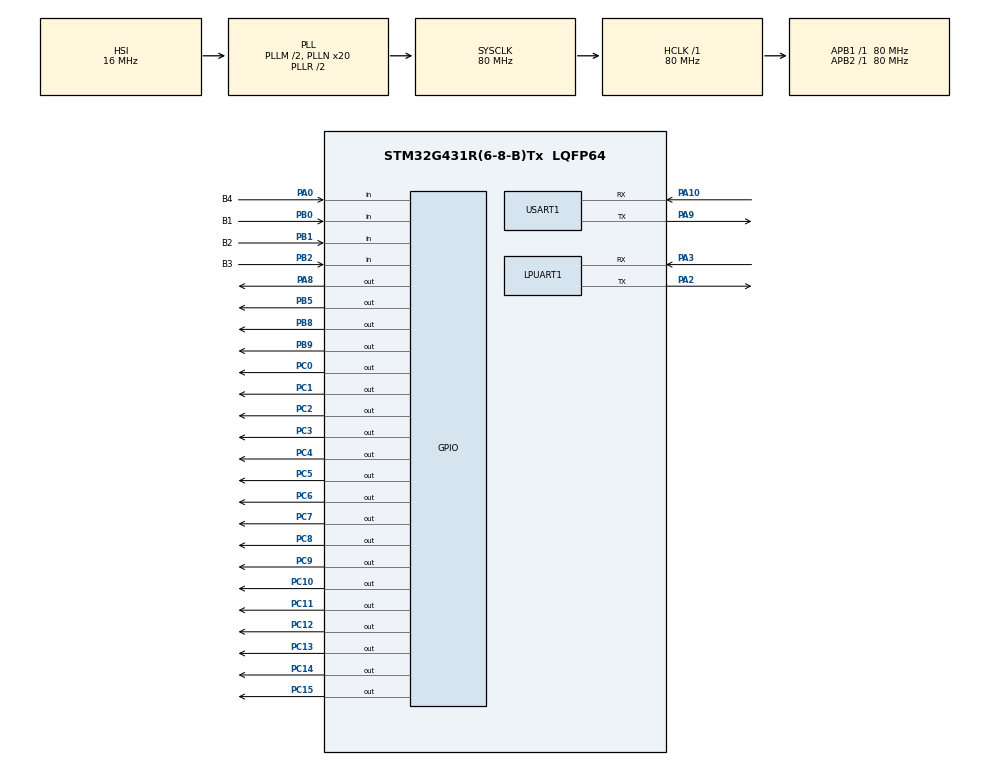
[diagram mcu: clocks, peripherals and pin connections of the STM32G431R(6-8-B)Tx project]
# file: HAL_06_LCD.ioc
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Mcu.Family=STM32G4
Mcu.Name=STM32G431R(6-8-B)Tx
Mcu.Package=LQFP64
NVIC.LPUART1_IRQn=true\:0\:0\:false\:false\:true\:true\:true\:true
NVIC.PriorityGroup=NVIC_PRIORITYGROUP_4
NVIC.TIM1_TRG_COM_TIM17_IRQn=true\:0\:0\:false\:false\:true\:true\:true\:true
PA0.GPIO_Label=B4
PA0.GPIO_PuPd=GPIO_PULLUP
PA0.Signal=GPIO_Input
PA10.Mode=Asynchronous
PA10.Signal=USART1_RX
PA13.Mode=Serial_Wire
PA13.Signal=SYS_JTMS-SWDIO
PA14.Mode=Serial_Wire
PA14.Signal=SYS_JTCK-SWCLK
PA2.Mode=Asynchronous
PA2.Signal=LPUART1_TX
PA3.Mode=Asynchronous
PA3.Signal=LPUART1_RX
PA8.Signal=GPIO_Output
PA9.Mode=Asynchronous
PA9.Signal=USART1_TX
PB0.GPIO_Label=B1
PB0.GPIO_PuPd=GPIO_PULLUP
PB0.Signal=GPIO_Input
PB1.GPIO_Label=B2
PB1.GPIO_PuPd=GPIO_PULLUP
PB1.Signal=GPIO_Input
PB2.GPIO_Label=B3
PB2.GPIO_PuPd=GPIO_PULLUP
PB2.Signal=GPIO_Input
PB5.Signal=GPIO_Output
PB8-BOOT0.Signal=GPIO_Output
PB9.Signal=GPIO_Output
PC0.Signal=GPIO_Output
PC1.Signal=GPIO_Output
PC10.Signal=GPIO_Output
PC11.Signal=GPIO_Output
PC12.Signal=GPIO_Output
PC13.Signal=GPIO_Output
PC14-OSC32_IN.Signal=GPIO_Output
PC15-OSC32_OUT.Signal=GPIO_Output
PC2.Signal=GPIO_Output
PC3.Signal=GPIO_Output
PC4.Signal=GPIO_Output
PC5.Signal=GPIO_Output
PC6.Signal=GPIO_Output
PC7.Signal=GPIO_Output
PC8.Signal=GPIO_Output
PC9.Signal=GPIO_Output
PF0-OSC_IN.Mode=HSE-External-Oscillator
PF0-OSC_IN.Signal=RCC_OSC_IN
PF1-OSC_OUT.Mode=HSE-External-Oscillator
PF1-OSC_OUT.Signal=RCC_OSC_OUT
ProjectManager.HeapSize=0x200
ProjectManager.StackSize=0x400
ProjectManager.TargetToolchain=MDK-ARM V5.27
RCC.ADC12Freq_Value=80000000
RCC.AHBFreq_Value=80000000
RCC.APB1Freq_Value=80000000
RCC.APB1TimFreq_Value=80000000
RCC.APB2Freq_Value=80000000
RCC.APB2TimFreq_Value=80000000
RCC.CortexFreq_Value=80000000
RCC.EXTERNAL_CLOCK_VALUE=12288000
RCC.HCLKFreq_Value=80000000
RCC.HSE_VALUE=24000000
RCC.HSI48_VALUE=48000000
RCC.HSI_VALUE=16000000
RCC.LSE_VALUE=32768
RCC.PLLM=RCC_PLLM_DIV2
RCC.PLLN=20
RCC.SYSCLKFreq_VALUE=80000000
RCC.SYSCLKSource=RCC_SYSCLKSOURCE_PLLCLK
RCC.USBFreq_Value=80000000
RCC.VCOOutputFreq_Value=160000000
TIM17.PeriodNoDither=9999
TIM17.Prescaler=79
USART1.VirtualMode-Asynchronous=VM_ASYNC
VP_SYS_VS_DBSignals.Mode=DisableDeadBatterySignals
VP_TIM17_VS_ClockSourceINT.Mode=Enable_Timer
board=custom

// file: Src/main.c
/* USER CODE BEGIN Header */
/**
  ******************************************************************************
  * @file           : main.c
  * @brief          : Main program body
  ******************************************************************************
  * @attention
  *
  * <h2><center>&copy; Copyright (c) 2021 STMicroelectronics.
  * All rights reserved.</center></h2>
  *
  * This software component is licensed by ST under BSD 3-Clause license,
  * the "License"; You may not use this file except in compliance with the
  * License. You may obtain a copy of the License at:
  *                        opensource.org/licenses/BSD-3-Clause
  *
  ******************************************************************************
  */
/* USER CODE END Header */
#include "main.h"
#include "usart.h"
#include "tim.h"
#include "gpio.h"

/* USER CODE BEGIN Includes */
#include "stdio.h"
#include "string.h"
#include "key.h"
#include "led.h"

/* USER CODE END Includes */

void SystemClock_Config(void);

/* USER CODE BEGIN 0 */
#define PSD 1
#define STA 2
uint8_t show_flag = PSD;

uint8_t old_psd[3] = {'1','2','3'};
uint8_t cur_psd[3] = {0};

void usart_proc(void);
/* USER CODE END 0 */

int main(void)
{

  /* MCU Configuration--------------------------------------------------------*/

  /* Reset of all peripherals, Initializes the Flash interface and the Systick. */
  HAL_Init();

  /* Configure the system clock */
  SystemClock_Config();

  /* Initialize all configured peripherals */
  MX_GPIO_Init();
  MX_USART1_UART_Init();
  MX_LPUART1_UART_Init();
  MX_TIM17_Init();
  /* USER CODE BEGIN 2 */

	LCD_Init();
  /* USER CODE END 2 */

  /* Infinite loop */
  /* USER CODE BEGIN WHILE */

	LCD_Clear(Black);
	LCD_SetBackColor(Black);
	LCD_SetTextColor(White);

	printf("READY\r\n");
	uint8_t key;
	while (1)
	{
	  key = key_scan();
		if(RX_flag)
		{
			usart_proc();

		}
	  if(show_flag == PSD)
	  {

	  }else
	  {

	  }

    /* USER CODE END WHILE */

	}
}

void SystemClock_Config(void)
{
  RCC_OscInitTypeDef RCC_OscInitStruct = {0};
  RCC_ClkInitTypeDef RCC_ClkInitStruct = {0};

  /** Configure the main internal regulator output voltage
  */
  HAL_PWREx_ControlVoltageScaling(PWR_REGULATOR_VOLTAGE_SCALE1);

  /** Initializes the RCC Oscillators according to the specified parameters
  * in the RCC_OscInitTypeDef structure.
  */
  RCC_OscInitStruct.OscillatorType = RCC_OSCILLATORTYPE_HSI;
  RCC_OscInitStruct.HSIState = RCC_HSI_ON;
  RCC_OscInitStruct.HSICalibrationValue = RCC_HSICALIBRATION_DEFAULT;
  RCC_OscInitStruct.PLL.PLLState = RCC_PLL_ON;
  RCC_OscInitStruct.PLL.PLLSource = RCC_PLLSOURCE_HSI;
  RCC_OscInitStruct.PLL.PLLM = RCC_PLLM_DIV2;
  RCC_OscInitStruct.PLL.PLLN = 20;
  RCC_OscInitStruct.PLL.PLLP = RCC_PLLP_DIV2;
  RCC_OscInitStruct.PLL.PLLQ = RCC_PLLQ_DIV2;
  RCC_OscInitStruct.PLL.PLLR = RCC_PLLR_DIV2;
  if (HAL_RCC_OscConfig(&RCC_OscInitStruct) != HAL_OK)
  {
    Error_Handler();
  }

  /** Initializes the CPU, AHB and APB buses clocks
  */
  RCC_ClkInitStruct.ClockType = RCC_CLOCKTYPE_HCLK|RCC_CLOCKTYPE_SYSCLK
                              |RCC_CLOCKTYPE_PCLK1|RCC_CLOCKTYPE_PCLK2;
  RCC_ClkInitStruct.SYSCLKSource = RCC_SYSCLKSOURCE_PLLCLK;
  RCC_ClkInitStruct.AHBCLKDivider = RCC_SYSCLK_DIV1;
  RCC_ClkInitStruct.APB1CLKDivider = RCC_HCLK_DIV1;
  RCC_ClkInitStruct.APB2CLKDivider = RCC_HCLK_DIV1;

  if (HAL_RCC_ClockConfig(&RCC_ClkInitStruct, FLASH_LATENCY_2) != HAL_OK)
  {
    Error_Handler();
  }
}

/* USER CODE BEGIN 4 */
uint32_t tim17_cnt;

void HAL_TIM_PeriodElapsedCallback(TIM_HandleTypeDef *htim)
{
	//10ms ��ʱ�ж�
	if(htim == &htim17)
	{
		tim17_cnt++;

	}

};

void usart_proc(void)
{
	//old - new
	uint8_t i=0;
	char* p;
	strncpy((char*)cur_psd,(char*)uart_buf,3);
	if(strcmp((char*)old_psd,(char*)cur_psd) == 0)
	{
		//��������ȷ
		strncpy((char*)old_psd,(char*)uart_buf[3],3);
		uart_clean();

	}

}

/* USER CODE END 4 */

void Error_Handler(void)
{
}
